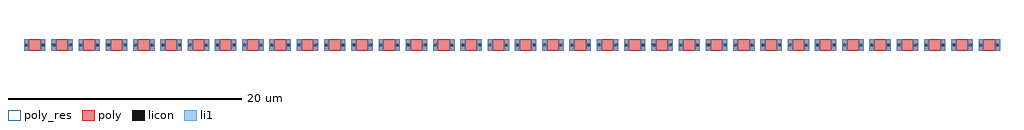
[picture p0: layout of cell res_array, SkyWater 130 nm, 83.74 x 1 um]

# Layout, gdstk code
import gdstk
lib = gdstk.Library(unit=1e-6, precision=1e-09)
def R(c, l, rs):  # rectangles x0, y0, x1, y1
    for r in rs: c.add(gdstk.rectangle(r[:2], r[2:], *l))
def A(c, l, x, y, w, h, nx, ny, dx, dy):  # array of equal rectangles
    R(c, l, [(x+i*dx, y+j*dy, x+i*dx+w, y+j*dy+h) for i in range(nx) for j in range(ny)])
poly_res = (66, 13)
poly = (66, 20)
licon = (66, 44)
li1 = (67, 20)

res_array = lib.new_cell('res_array')
A(res_array, poly_res, -4.26, 0, 1, 1, 36, 1, 2.34, 0)
A(res_array, poly, -4.68, 0, 1.84, 1, 36, 1, 2.34, 0)
R(res_array, licon, [(-4.58,0.39,-4.36,0.61), (-3.16,0.39,-2.94,0.61), (-2.24,0.39,-2.02,0.61), (-0.82,0.39,-0.6,0.61), (0.1,0.39,0.32,0.61), (1.52,0.39,1.74,0.61), (2.44,0.39,2.66,0.61), (3.86,0.39,4.08,0.61), (4.78,0.39,5,0.61), (6.2,0.39,6.42,0.61), (7.12,0.39,7.34,0.61), (8.54,0.39,8.76,0.61), (9.46,0.39,9.68,0.61), (10.88,0.39,11.1,0.61), (11.8,0.39,12.02,0.61), (13.22,0.39,13.44,0.61), (14.14,0.39,14.36,0.61), (15.56,0.39,15.78,0.61), (16.48,0.39,16.7,0.61), (17.9,0.39,18.12,0.61), (18.82,0.39,19.04,0.61), (20.24,0.39,20.46,0.61), (21.16,0.39,21.38,0.61), (22.58,0.39,22.8,0.61), (23.5,0.39,23.72,0.61), (24.92,0.39,25.14,0.61), (25.84,0.39,26.06,0.61), (27.26,0.39,27.48,0.61), (28.18,0.39,28.4,0.61), (29.6,0.39,29.82,0.61), (30.52,0.39,30.74,0.61), (31.94,0.39,32.16,0.61), (32.86,0.39,33.08,0.61), (34.28,0.39,34.5,0.61), (35.2,0.39,35.42,0.61), (36.62,0.39,36.84,0.61), (37.54,0.39,37.76,0.61), (38.96,0.39,39.18,0.61), (39.88,0.39,40.1,0.61), (41.3,0.39,41.52,0.61), (42.22,0.39,42.44,0.61), (43.64,0.39,43.86,0.61), (44.56,0.39,44.78,0.61), (45.98,0.39,46.2,0.61), (46.9,0.39,47.12,0.61), (48.32,0.39,48.54,0.61), (49.24,0.39,49.46,0.61), (50.66,0.39,50.88,0.61), (51.58,0.39,51.8,0.61), (53,0.39,53.22,0.61), (53.92,0.39,54.14,0.61), (55.34,0.39,55.56,0.61), (56.26,0.39,56.48,0.61), (57.68,0.39,57.9,0.61), (58.6,0.39,58.82,0.61), (60.02,0.39,60.24,0.61), (60.94,0.39,61.16,0.61), (62.36,0.39,62.58,0.61), (63.28,0.39,63.5,0.61), (64.7,0.39,64.92,0.61), (65.62,0.39,65.84,0.61), (67.04,0.39,67.26,0.61), (67.96,0.39,68.18,0.61), (69.38,0.39,69.6,0.61), (70.3,0.39,70.52,0.61), (71.72,0.39,71.94,0.61), (72.64,0.39,72.86,0.61), (74.06,0.39,74.28,0.61), (74.98,0.39,75.2,0.61), (76.4,0.39,76.62,0.61), (77.32,0.39,77.54,0.61), (78.74,0.39,78.96,0.61)])
R(res_array, li1, [(-4.68,0,-4.26,1), (-3.26,0,-2.84,1), (-2.34,0,-1.92,1), (-0.92,0,-0.5,1), (0,0,0.42,1), (1.42,0,1.84,1), (2.34,0,2.76,1), (3.76,0,4.18,1), (4.68,0,5.1,1), (6.1,0,6.52,1), (7.02,0,7.44,1), (8.44,0,8.86,1), (9.36,0,9.78,1), (10.78,0,11.2,1), (11.7,0,12.12,1), (13.12,0,13.54,1), (14.04,0,14.46,1), (15.46,0,15.88,1), (16.38,0,16.8,1), (17.8,0,18.22,1), (18.72,0,19.14,1), (20.14,0,20.56,1), (21.06,0,21.48,1), (22.48,0,22.9,1), (23.4,0,23.82,1), (24.82,0,25.24,1), (25.74,0,26.16,1), (27.16,0,27.58,1), (28.08,0,28.5,1), (29.5,0,29.92,1), (30.42,0,30.84,1), (31.84,0,32.26,1), (32.76,0,33.18,1), (34.18,0,34.6,1), (35.1,0,35.52,1), (36.52,0,36.94,1), (37.44,0,37.86,1), (38.86,0,39.28,1), (39.78,0,40.2,1), (41.2,0,41.62,1), (42.12,0,42.54,1), (43.54,0,43.96,1), (44.46,0,44.88,1), (45.88,0,46.3,1), (46.8,0,47.22,1), (48.22,0,48.64,1), (49.14,0,49.56,1), (50.56,0,50.98,1), (51.48,0,51.9,1), (52.9,0,53.32,1), (53.82,0,54.24,1), (55.24,0,55.66,1), (56.16,0,56.58,1), (57.58,0,58,1), (58.5,0,58.92,1), (59.92,0,60.34,1), (60.84,0,61.26,1), (62.26,0,62.68,1), (63.18,0,63.6,1), (64.6,0,65.02,1), (65.52,0,65.94,1), (66.94,0,67.36,1), (67.86,0,68.28,1), (69.28,0,69.7,1), (70.2,0,70.62,1), (71.62,0,72.04,1), (72.54,0,72.96,1), (73.96,0,74.38,1), (74.88,0,75.3,1), (76.3,0,76.72,1), (77.22,0,77.64,1), (78.64,0,79.06,1)])

lib.write_gds('res_array.gds')
